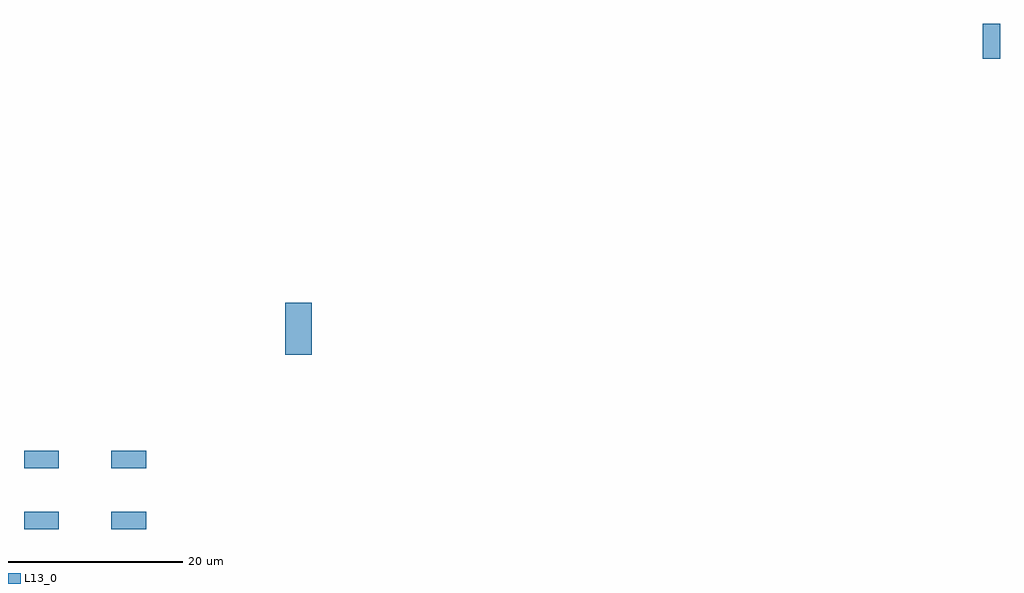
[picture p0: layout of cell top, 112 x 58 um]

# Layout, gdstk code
from math import pi, radians
import gdstk
lib = gdstk.Library(unit=1e-6, precision=1e-09)
def R(c, l, rs):  # rectangles x0, y0, x1, y1
    for r in rs: c.add(gdstk.rectangle(r[:2], r[2:], *l))
L13_0 = (13, 0)

tile = lib.new_cell('tile')
R(tile, L13_0, [(0,0,2,1)])

nested = lib.new_cell('nested')
nested.add(gdstk.Reference(tile, (1,2), magnification=0.5))

top = lib.new_cell('top')
top.add(gdstk.Reference(tile, (10,20), rotation=pi/2, magnification=3, x_reflection=True))
r = gdstk.Reference(tile, (-20,0), magnification=2); r.repetition = gdstk.Repetition(2, 2, v1=(10,0), v2=(0,7)); top.add(r)
top.add(gdstk.Reference(nested, (100,50), rotation=pi/2, magnification=4))

lib.write_gds('top.gds')
